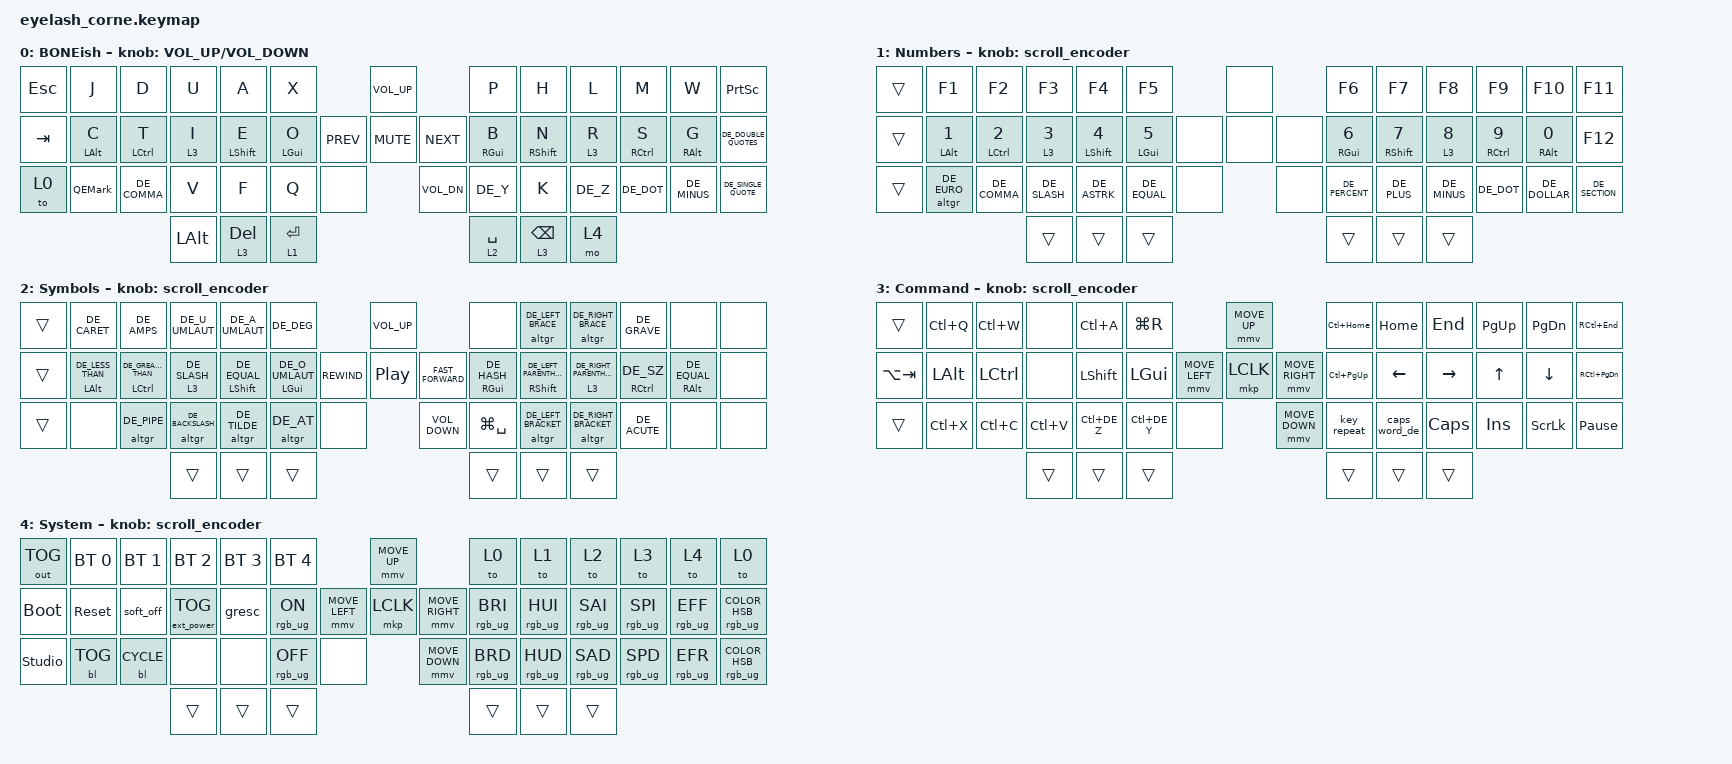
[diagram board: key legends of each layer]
#define ZMK_POINTING_DEFAULT_MOVE_VAL 1200  // 600
#define ZMK_POINTING_DEFAULT_SCRL_VAL 25   // 10

#include <input/processors.dtsi>
#include <zephyr/dt-bindings/input/input-event-codes.h>
#include <behaviors.dtsi>
#include <dt-bindings/zmk/backlight.h>
#include <dt-bindings/zmk/bt.h>
#include <dt-bindings/zmk/ext_power.h>
#include <dt-bindings/zmk/keys.h>
#include <dt-bindings/zmk/outputs.h>
#include <dt-bindings/zmk/pointing.h>
#include <dt-bindings/zmk/rgb.h>

#ifndef KEYMAP_DRAWER

#include "keys_de.h"

#endif

// https://github.com/urob/zmk-helpers/blob/main/include/zmk-helpers/key-labels/eyelash42.h

#include "zmk-helpers/key-labels/eyelash42.h"

// for timeless home row mods https://zmk.dev/docs/keymaps/behaviors/hold-tap?examples=home_row_mods

#define KEYS_L  LT5  LT4  LT3  LT2  LT1  LT0 LM5  LM4  LM3  LM2  LM1  LM0 LB5  LB4  LB3  LB2  LB1  LB0
#define KEYS_R  RT0  RT1  RT2  RT3  RT4  RT5 RM0  RM1  RM2  RM3  RM4  RM5 RB0  RB1  RB2  RB3  RB4  RB5
#define THUMBS  LH2  LH1  LH0  RH0  RH1  RH2

&mmv_input_listener { input-processors = <&zip_xy_scaler 2 1>; };

&msc_input_listener { input-processors = <&zip_scroll_scaler 2 1>; };

&msc {
    acceleration-exponent = <1>;      // 0
    time-to-max-speed-ms = <100>;       // 300
    delay-ms = <0>;                   // 0
};

&mmv {
    time-to-max-speed-ms = <500>;
    acceleration-exponent = <1>;
    trigger-period-ms = <16>;
};

/ {
    macros {
        altgr: altgr {
            compatible = "zmk,behavior-macro-one-param";
            label = "altgr";
            #binding-cells = <1>;
            bindings =
                <&macro_press>,
                <&kp RALT &macro_param_1to1>,
                <&macro_tap>,
                <&kp MACRO_PLACEHOLDER>,
                <&macro_release>,
                <&kp RALT>;

            wait-ms = <80>;   // for RDP
            tap-ms = <50>;
        };
    };

    behaviors {
        PrintScreen: PrintScreen {
            compatible = "zmk,behavior-tap-dance";
            #binding-cells = <0>;
            bindings =
                <&kp PRINTSCREEN>,
                <&kp LS(PRINTSCREEN)>,
                <&kp LA(PRINTSCREEN)>;
        };

        QEMark: QEMark {
            compatible = "zmk,behavior-mod-morph";
            bindings = <&kp DE_QUESTION>, <&kp DE_EXCLAMATION>;

            #binding-cells = <0>;
            mods = <(MOD_RSFT)>;
        };

        caps_word_de: caps_word_de {
            compatible = "zmk,behavior-caps-word-de";
            #binding-cells = <0>;
            continue-list = <BACKSPACE DELETE LEFT RIGHT DE_UNDERSCORE DE_MINUS>;
        };

        // https://github.com/urob/zmk-config?tab=readme-ov-file

        hml: home_row_mod_left {
            compatible = "zmk,behavior-hold-tap";
            #binding-cells = <2>;
            flavor = "balanced";
            require-prior-idle-ms = <150>;
            tapping-term-ms = <280>;
            quick-tap-ms = <175>;
            bindings = <&kp>, <&kp>;

            hold-trigger-key-positions = <KEYS_R THUMBS>; // List of keys on the right side of the keyboard
            hold-trigger-on-release;
        };

        hmr: home_row_mod_right {
            compatible = "zmk,behavior-hold-tap";
            #binding-cells = <2>;
            flavor = "balanced";
            require-prior-idle-ms = <150>;
            tapping-term-ms = <280>;
            quick-tap-ms = <175>;
            bindings = <&kp>, <&kp>;

            hold-trigger-key-positions = <KEYS_L THUMBS>; // List of keys on the left side of the keyboard
            hold-trigger-on-release;
        };

        bsdel: Backspace_DeleteOnShift {
            compatible = "zmk,behavior-mod-morph";
            bindings = <&kp BACKSPACE>, <&kp DELETE>;

            #binding-cells = <0>;
            mods = <(MOD_RSFT)>;
        };
    };

    rgb_encoder: rgb_encoder {
        compatible = "zmk,behavior-sensor-rotate";
        #sensor-binding-cells = <0>;
        bindings = <&rgb_ug RGB_BRI>, <&rgb_ug RGB_BRD>;
    };

    scroll_encoder: scroll_encoder {
        compatible = "zmk,behavior-sensor-rotate";
        #sensor-binding-cells = <0>;
        bindings = <&msc SCRL_DOWN>, <&msc SCRL_UP>;

        tap-ms = <100>;
    };

    keymap {
        compatible = "zmk,keymap";

        default_layer {
            display-name = "BONEish";
            bindings = <
&kp ESC  &kp J            &kp D                &kp U         &kp A              &kp X                                 &kp C_VOLUME_UP              &kp P             &kp H               &kp L     &kp M                 &kp W             &kp PRINTSCREEN
&kp TAB  &hml LEFT_ALT C  &hml LEFT_CONTROL T  &lt 3 I       &hml LEFT_SHIFT E  &hml LEFT_GUI O           &kp C_PREV  &kp C_MUTE       &kp C_NEXT  &hmr RIGHT_GUI B  &hmr RIGHT_SHIFT N  &lt 3 R   &hmr RIGHT_CONTROL S  &hmr RIGHT_ALT G  &kp DE_DOUBLE_QUOTES
&to 0    &QEMark          &kp DE_COMMA         &kp V         &kp F              &kp Q            &none                &kp C_VOL_DN                 &kp DE_Y          &kp K               &kp DE_Z  &kp DE_DOT            &kp DE_MINUS      &kp DE_SINGLE_QUOTE
                                               &kp LEFT_ALT  &lt 3 DELETE       &lt 1 ENTER                                                        &lt 2 SPACE       &lt 3 BACKSPACE     &mo 4
            >;

            sensor-bindings = <&inc_dec_kp C_VOLUME_UP C_VOLUME_DOWN>;
        };

        Numbers {
            display-name = "Numbers";
            bindings = <
&trans  &kp F1            &kp F2                &kp F3        &kp F4              &kp F5                            &none         &kp F6             &kp F7               &kp F8        &kp F9                 &kp F10            &kp F11
&trans  &hml LEFT_ALT N1  &hml LEFT_CONTROL N2  &lt 3 N3      &hml LEFT_SHIFT N4  &hml LEFT_GUI N5           &none  &none  &none  &hmr RIGHT_GUI N6  &hmr RIGHT_SHIFT N7  &lt 3 N8      &hmr RIGHT_CONTROL N9  &hmr RIGHT_ALT N0  &kp F12
&trans  &altgr DE_EURO    &kp DE_COMMA          &kp DE_SLASH  &kp DE_ASTRK        &kp DE_EQUAL      &none           &none         &kp DE_PERCENT     &kp DE_PLUS          &kp DE_MINUS  &kp DE_DOT             &kp DE_DOLLAR      &kp DE_SECTION
                                                &trans        &trans              &trans                                          &trans             &trans               &trans
            >;

            sensor-bindings = <&scroll_encoder>;
        };

        Symbols {
            display-name = "Symbols";
            bindings = <
&trans  &kp DE_CARET                &kp DE_AMPS                        &kp DE_U_UMLAUT      &kp DE_A_UMLAUT           &kp DE_DEG                                        &kp C_VOLUME_UP                        &none                   &altgr DE_LEFT_BRACE                  &altgr DE_RIGHT_BRACE       &kp DE_GRAVE              &none                    &none
&trans  &hml LEFT_ALT DE_LESS_THAN  &hml LEFT_CONTROL DE_GREATER_THAN  &lt 3 DE_SLASH       &hml LEFT_SHIFT DE_EQUAL  &hml LEFT_GUI DE_O_UMLAUT           &kp C_REWIND  &kp C_PLAY_PAUSE   &kp C_FAST_FORWARD  &hmr RIGHT_GUI DE_HASH  &hmr RIGHT_SHIFT DE_LEFT_PARENTHESIS  &lt 3 DE_RIGHT_PARENTHESIS  &hmr RIGHT_CONTROL DE_SZ  &hmr RIGHT_ALT DE_EQUAL  &none
&trans  &none                       &altgr DE_PIPE                     &altgr DE_BACKSLASH  &altgr DE_TILDE           &altgr DE_AT               &none                  &kp C_VOLUME_DOWN                      &kp LG(SPACE)           &altgr DE_LEFT_BRACKET                &altgr DE_RIGHT_BRACKET     &kp DE_ACUTE              &none                    &none
                                                                       &trans               &trans                    &trans                                                                                   &trans                  &trans                                &trans
            >;

            sensor-bindings = <&scroll_encoder>;
        };

        Command {
            display-name = "Command";
            bindings = <
&trans       &kp LC(Q)  &kp LC(W)  &none      &kp LC(A)     &kp LG(R)                              &mmv MOVE_UP                     &kp LC(HOME)     &kp HOME       &kp END    &kp PG_UP   &kp PG_DN       &kp RC(END)
&kp LA(TAB)  &kp LALT   &kp LCTRL  &none      &kp LSHFT     &kp LEFT_GUI           &mmv MOVE_LEFT  &mkp LCLK       &mmv MOVE_RIGHT  &kp LC(PAGE_UP)  &kp LEFT       &kp RIGHT  &kp UP      &kp DOWN        &kp RC(PAGE_DOWN)
&trans       &kp LC(X)  &kp LC(C)  &kp LC(V)  &kp LC(DE_Z)  &kp LC(DE_Y)  &none                    &mmv MOVE_DOWN                   &key_repeat      &caps_word_de  &kp CAPS   &kp INSERT  &kp SCROLLLOCK  &kp PAUSE_BREAK
                                   &trans     &trans        &trans                                                                  &trans           &trans         &trans
            >;

            sensor-bindings = <&scroll_encoder>;
        };

        System {
            display-name = "System";
            bindings = <
&out OUT_TOG    &bt BT_SEL 0  &bt BT_SEL 1  &bt BT_SEL 2       &bt BT_SEL 3  &bt BT_SEL 4                              &mmv MOVE_UP                     &to 0            &to 1            &to 2            &to 3            &to 4            &to 0
&bootloader     &sys_reset    &soft_off     &ext_power EP_TOG  &gresc        &rgb_ug RGB_ON            &mmv MOVE_LEFT  &mkp LCLK       &mmv MOVE_RIGHT  &rgb_ug RGB_BRI  &rgb_ug RGB_HUI  &rgb_ug RGB_SAI  &rgb_ug RGB_SPI  &rgb_ug RGB_EFF  &rgb_ug RGB_COLOR_HSB(182,42,43)
&studio_unlock  &bl BL_TOG    &bl BL_CYCLE  &none              &none         &rgb_ug RGB_OFF  &none                    &mmv MOVE_DOWN                   &rgb_ug RGB_BRD  &rgb_ug RGB_HUD  &rgb_ug RGB_SAD  &rgb_ug RGB_SPD  &rgb_ug RGB_EFR  &rgb_ug RGB_COLOR_HSB(0,68,26)
                                            &trans             &trans        &trans                                                                     &trans           &trans           &trans
            >;

            sensor-bindings = <&scroll_encoder>;
        };
    };
};
